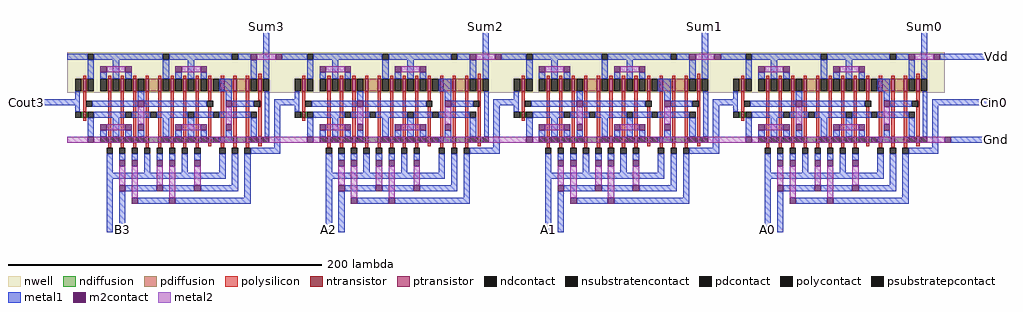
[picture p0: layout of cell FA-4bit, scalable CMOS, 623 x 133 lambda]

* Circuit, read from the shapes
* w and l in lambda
.subckt FA-4bit A0 A1 A2 A3 B0 B1 B2 B3 Cin0 Cout3 Gnd Sum0 Sum1 Sum2 Sum3 Vdd
M1 Gnd n1 Cout3 Gnd nfet w=4 l=2
M2 Gnd A3 n2 Gnd nfet w=4 l=2
M3 n2 B3 Gnd Gnd nfet w=4 l=2
M4 n1 FA_3/Cin n2 Gnd nfet w=4 l=2
M5 n3 A3 n1 Gnd nfet w=4 l=2
M6 Gnd B3 n3 Gnd nfet w=4 l=2
M7 n4 FA_3/Cin Gnd Gnd nfet w=4 l=2
M8 Gnd A3 n4 Gnd nfet w=4 l=2
M9 n4 B3 Gnd Gnd nfet w=4 l=2
M10 n5 n1 n4 Gnd nfet w=4 l=2
M11 n6 A3 n5 Gnd nfet w=4 l=2
M12 n7 B3 n6 Gnd nfet w=4 l=2
M13 Gnd FA_3/Cin n7 Gnd nfet w=4 l=2
M14 Sum3 n5 Gnd Gnd nfet w=4 l=2
M15 Gnd n8 FA_3/Cin Gnd nfet w=4 l=2
M16 Gnd A2 n9 Gnd nfet w=4 l=2
M17 n9 B2 Gnd Gnd nfet w=4 l=2
M18 n8 FA_2/Cin n9 Gnd nfet w=4 l=2
M19 n10 A2 n8 Gnd nfet w=4 l=2
M20 Gnd B2 n10 Gnd nfet w=4 l=2
M21 n11 FA_2/Cin Gnd Gnd nfet w=4 l=2
M22 Gnd A2 n11 Gnd nfet w=4 l=2
M23 n11 B2 Gnd Gnd nfet w=4 l=2
M24 n12 n8 n11 Gnd nfet w=4 l=2
M25 n13 A2 n12 Gnd nfet w=4 l=2
M26 n14 B2 n13 Gnd nfet w=4 l=2
M27 Gnd FA_2/Cin n14 Gnd nfet w=4 l=2
M28 Sum2 n12 Gnd Gnd nfet w=4 l=2
M29 Gnd n15 FA_2/Cin Gnd nfet w=4 l=2
M30 Gnd A1 n16 Gnd nfet w=4 l=2
M31 n16 B1 Gnd Gnd nfet w=4 l=2
M32 n15 FA_1/Cin n16 Gnd nfet w=4 l=2
M33 n17 A1 n15 Gnd nfet w=4 l=2
M34 Gnd B1 n17 Gnd nfet w=4 l=2
M35 n18 FA_1/Cin Gnd Gnd nfet w=4 l=2
M36 Gnd A1 n18 Gnd nfet w=4 l=2
M37 n18 B1 Gnd Gnd nfet w=4 l=2
M38 n19 n15 n18 Gnd nfet w=4 l=2
M39 n20 A1 n19 Gnd nfet w=4 l=2
M40 n21 B1 n20 Gnd nfet w=4 l=2
M41 Gnd FA_1/Cin n21 Gnd nfet w=4 l=2
M42 Sum1 n19 Gnd Gnd nfet w=4 l=2
M43 Gnd n22 FA_1/Cin Gnd nfet w=4 l=2
M44 Gnd A0 n23 Gnd nfet w=4 l=2
M45 n23 B0 Gnd Gnd nfet w=4 l=2
M46 n22 Cin0 n23 Gnd nfet w=4 l=2
M47 n24 A0 n22 Gnd nfet w=4 l=2
M48 Gnd B0 n24 Gnd nfet w=4 l=2
M49 n25 Cin0 Gnd Gnd nfet w=4 l=2
M50 Gnd A0 n25 Gnd nfet w=4 l=2
M51 n25 B0 Gnd Gnd nfet w=4 l=2
M52 n26 n22 n25 Gnd nfet w=4 l=2
M53 n27 A0 n26 Gnd nfet w=4 l=2
M54 n28 B0 n27 Gnd nfet w=4 l=2
M55 Gnd Cin0 n28 Gnd nfet w=4 l=2
M56 Sum0 n26 Gnd Gnd nfet w=4 l=2
M57 Vdd n1 Cout3 Vdd pfet w=8 l=2
M58 Vdd A3 n29 Vdd pfet w=8 l=2
M59 n29 B3 Vdd Vdd pfet w=8 l=2
M60 n1 FA_3/Cin n29 Vdd pfet w=8 l=2
M61 n30 A3 n1 Vdd pfet w=8 l=2
M62 Vdd B3 n30 Vdd pfet w=8 l=2
M63 n31 FA_3/Cin Vdd Vdd pfet w=8 l=2
M64 Vdd A3 n31 Vdd pfet w=8 l=2
M65 n31 B3 Vdd Vdd pfet w=8 l=2
M66 n5 n1 n31 Vdd pfet w=8 l=2
M67 n32 A3 n5 Vdd pfet w=8 l=2
M68 n33 B3 n32 Vdd pfet w=8 l=2
M69 Vdd FA_3/Cin n33 Vdd pfet w=8 l=2
M70 Sum3 n5 Vdd Vdd pfet w=8 l=2
M71 Vdd n8 FA_3/Cin Vdd pfet w=8 l=2
M72 Vdd A2 n34 Vdd pfet w=8 l=2
M73 n34 B2 Vdd Vdd pfet w=8 l=2
M74 n8 FA_2/Cin n34 Vdd pfet w=8 l=2
M75 n35 A2 n8 Vdd pfet w=8 l=2
M76 Vdd B2 n35 Vdd pfet w=8 l=2
M77 n36 FA_2/Cin Vdd Vdd pfet w=8 l=2
M78 Vdd A2 n36 Vdd pfet w=8 l=2
M79 n36 B2 Vdd Vdd pfet w=8 l=2
M80 n12 n8 n36 Vdd pfet w=8 l=2
M81 n37 A2 n12 Vdd pfet w=8 l=2
M82 n38 B2 n37 Vdd pfet w=8 l=2
M83 Vdd FA_2/Cin n38 Vdd pfet w=8 l=2
M84 Sum2 n12 Vdd Vdd pfet w=8 l=2
M85 Vdd n15 FA_2/Cin Vdd pfet w=8 l=2
M86 Vdd A1 n39 Vdd pfet w=8 l=2
M87 n39 B1 Vdd Vdd pfet w=8 l=2
M88 n15 FA_1/Cin n39 Vdd pfet w=8 l=2
M89 n40 A1 n15 Vdd pfet w=8 l=2
M90 Vdd B1 n40 Vdd pfet w=8 l=2
M91 n41 FA_1/Cin Vdd Vdd pfet w=8 l=2
M92 Vdd A1 n41 Vdd pfet w=8 l=2
M93 n41 B1 Vdd Vdd pfet w=8 l=2
M94 n19 n15 n41 Vdd pfet w=8 l=2
M95 n42 A1 n19 Vdd pfet w=8 l=2
M96 n43 B1 n42 Vdd pfet w=8 l=2
M97 Vdd FA_1/Cin n43 Vdd pfet w=8 l=2
M98 Sum1 n19 Vdd Vdd pfet w=8 l=2
M99 Vdd n22 FA_1/Cin Vdd pfet w=8 l=2
M100 Vdd A0 n44 Vdd pfet w=8 l=2
M101 n44 B0 Vdd Vdd pfet w=8 l=2
M102 n22 Cin0 n44 Vdd pfet w=8 l=2
M103 n45 A0 n22 Vdd pfet w=8 l=2
M104 Vdd B0 n45 Vdd pfet w=8 l=2
M105 n46 Cin0 Vdd Vdd pfet w=8 l=2
M106 Vdd A0 n46 Vdd pfet w=8 l=2
M107 n46 B0 Vdd Vdd pfet w=8 l=2
M108 n26 n22 n46 Vdd pfet w=8 l=2
M109 n47 A0 n26 Vdd pfet w=8 l=2
M110 n48 B0 n47 Vdd pfet w=8 l=2
M111 Vdd Cin0 n48 Vdd pfet w=8 l=2
M112 Sum0 n26 Vdd Vdd pfet w=8 l=2
.ends

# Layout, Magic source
magic
tech scmos
<< metal1 >>
rect -270 146 -266 155
rect -130 146 -126 155
rect 10 146 14 155
rect 150 146 154 155
rect 163 132 200 136
rect -423 103 -394 107
rect 164 103 199 107
rect 169 79 200 83
rect -370 22 -366 35
rect -362 22 -358 35
rect -230 22 -226 35
rect -222 22 -218 35
rect -90 22 -86 35
rect -82 22 -78 35
rect 50 22 54 35
rect 58 22 62 35
<< m2contact >>
rect 165 79 169 83
use FA  FA_3
transform 1 0 -349 0 1 66
box -46 -31 94 80
use FA  FA_2
transform 1 0 -209 0 1 66
box -46 -31 94 80
use FA  FA_1
transform 1 0 -69 0 1 66
box -46 -31 94 80
use FA  FA_0
transform 1 0 71 0 1 66
box -46 -31 94 80
<< labels >>
rlabel metal1 198 134 198 134 7 Vdd
rlabel metal1 198 81 198 81 7 Gnd
rlabel metal1 -421 105 -421 105 3 Cout3
rlabel metal1 -360 24 -360 24 1 B3
rlabel metal1 -368 24 -368 24 1 A3
rlabel metal1 -228 24 -228 24 1 A2
rlabel metal1 -220 24 -220 24 1 B2
rlabel metal1 -88 24 -88 24 1 A1
rlabel metal1 -80 24 -80 24 1 B1
rlabel metal1 52 24 52 24 1 A0
rlabel metal1 60 24 60 24 1 B0
rlabel metal1 152 153 152 153 5 Sum0
rlabel metal1 12 153 12 153 5 Sum1
rlabel metal1 -128 153 -128 153 5 Sum2
rlabel metal1 -268 153 -268 153 5 Sum3
rlabel metal1 197 105 197 105 7 Cin0
<< end >>

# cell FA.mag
magic
tech scmos
<< nwell >>
rect -46 45 94 71
<< polysilicon >>
rect -36 54 -34 56
rect -20 54 -18 56
rect -12 54 -10 56
rect -4 54 -2 56
rect 4 54 6 56
rect 12 54 14 56
rect 20 54 22 56
rect 28 54 30 56
rect 36 54 38 56
rect 44 54 46 56
rect 52 54 54 56
rect 60 54 62 56
rect 68 54 70 56
rect 76 54 78 57
rect -36 33 -34 46
rect -36 27 -34 29
rect -20 17 -18 46
rect -12 17 -10 46
rect -4 17 -2 46
rect 4 17 6 46
rect 12 17 14 46
rect 20 17 22 46
rect 28 17 30 46
rect 36 17 38 46
rect 44 40 46 46
rect 44 17 46 36
rect 52 17 54 46
rect 60 17 62 46
rect 68 17 70 46
rect 76 40 78 46
rect 77 36 78 40
rect 76 17 78 36
rect -20 10 -18 13
rect -12 10 -10 13
rect -4 10 -2 13
rect 4 10 6 13
rect 12 10 14 13
rect 20 10 22 13
rect 28 10 30 13
rect 36 10 38 13
rect 44 11 46 13
rect 52 10 54 13
rect 60 10 62 13
rect 68 10 70 13
rect 76 11 78 13
<< ndiffusion >>
rect -37 29 -36 33
rect -34 29 -33 33
rect -21 13 -20 17
rect -18 13 -17 17
rect -13 13 -12 17
rect -10 13 -9 17
rect -5 13 -4 17
rect -2 13 -1 17
rect 3 13 4 17
rect 6 13 12 17
rect 14 13 15 17
rect 19 13 20 17
rect 22 13 23 17
rect 27 13 28 17
rect 30 13 31 17
rect 35 13 36 17
rect 38 13 39 17
rect 43 13 44 17
rect 46 13 47 17
rect 51 13 52 17
rect 54 13 60 17
rect 62 13 68 17
rect 70 13 71 17
rect 75 13 76 17
rect 78 13 79 17
<< pdiffusion >>
rect -37 46 -36 54
rect -34 46 -33 54
rect -21 46 -20 54
rect -18 46 -17 54
rect -13 46 -12 54
rect -10 46 -9 54
rect -5 46 -4 54
rect -2 46 -1 54
rect 3 46 4 54
rect 6 46 12 54
rect 14 46 15 54
rect 19 46 20 54
rect 22 46 23 54
rect 27 46 28 54
rect 30 46 31 54
rect 35 46 36 54
rect 38 46 39 54
rect 43 46 44 54
rect 46 46 47 54
rect 51 46 52 54
rect 54 46 60 54
rect 62 46 68 54
rect 70 46 71 54
rect 75 46 76 54
rect 78 46 79 54
<< metal1 >>
rect -46 66 -33 70
rect -29 66 15 70
rect 19 66 59 70
rect 63 66 71 70
rect -33 54 -29 66
rect -25 54 -21 58
rect -17 54 -13 66
rect -9 54 -5 58
rect 15 54 19 66
rect 23 54 27 58
rect 31 54 35 66
rect 39 54 43 58
rect 71 54 75 66
rect 51 46 59 54
rect 79 54 83 80
rect 91 66 94 70
rect -41 41 -38 46
rect -46 37 -38 41
rect -1 40 3 46
rect 55 40 59 46
rect -41 33 -38 37
rect -30 36 -1 40
rect 3 36 43 40
rect 59 36 73 40
rect -29 29 -9 33
rect -5 29 7 33
rect 11 29 31 33
rect 35 29 47 33
rect 51 29 71 33
rect -33 17 -29 29
rect -25 17 -21 21
rect -17 17 -13 29
rect -9 17 -5 21
rect -1 17 3 21
rect 15 17 19 29
rect 23 17 27 21
rect 31 17 35 29
rect 39 17 43 21
rect 55 17 59 21
rect 51 13 59 17
rect 71 17 75 29
rect 80 17 83 46
rect 86 37 94 41
rect 86 10 90 37
rect -21 -6 -17 6
rect -13 2 -9 6
rect -5 2 -1 6
rect 3 -6 7 6
rect 11 2 15 6
rect 19 2 23 6
rect 27 -6 31 6
rect 35 2 39 6
rect 51 -6 55 6
rect -21 -10 55 -6
rect -21 -31 -17 -10
rect 59 -14 63 6
rect -9 -18 11 -14
rect 15 -18 35 -14
rect 39 -18 63 -14
rect 71 6 90 10
rect -13 -31 -9 -18
rect 67 -22 71 6
rect -1 -26 19 -22
rect 23 -26 71 -22
<< metal2 >>
rect 75 66 87 70
rect -21 58 -9 62
rect 27 58 39 62
rect -1 25 3 36
rect 55 25 59 36
rect -21 21 -9 25
rect 27 21 39 25
rect -46 13 -33 17
rect -29 13 94 17
rect -13 -14 -9 -2
rect -5 -22 -1 -2
rect 11 -14 15 -2
rect 19 -22 23 -2
rect 35 -14 39 -2
<< ntransistor >>
rect -36 29 -34 33
rect -20 13 -18 17
rect -12 13 -10 17
rect -4 13 -2 17
rect 4 13 6 17
rect 12 13 14 17
rect 20 13 22 17
rect 28 13 30 17
rect 36 13 38 17
rect 44 13 46 17
rect 52 13 54 17
rect 60 13 62 17
rect 68 13 70 17
rect 76 13 78 17
<< ptransistor >>
rect -36 46 -34 54
rect -20 46 -18 54
rect -12 46 -10 54
rect -4 46 -2 54
rect 4 46 6 54
rect 12 46 14 54
rect 20 46 22 54
rect 28 46 30 54
rect 36 46 38 54
rect 44 46 46 54
rect 52 46 54 54
rect 60 46 62 54
rect 68 46 70 54
rect 76 46 78 54
<< polycontact >>
rect -34 36 -30 40
rect 43 36 47 40
rect 73 36 77 40
rect -21 6 -17 10
rect -13 6 -9 10
rect -5 6 -1 10
rect 3 6 7 10
rect 11 6 15 10
rect 19 6 23 10
rect 27 6 31 10
rect 35 6 39 10
rect 51 6 55 10
rect 59 6 63 10
rect 67 6 71 10
<< ndcontact >>
rect -41 29 -37 33
rect -33 29 -29 33
rect -25 13 -21 17
rect -17 13 -13 17
rect -9 13 -5 17
rect -1 13 3 17
rect 15 13 19 17
rect 23 13 27 17
rect 31 13 35 17
rect 39 13 43 17
rect 47 13 51 17
rect 71 13 75 17
rect 79 13 83 17
<< pdcontact >>
rect -41 46 -37 54
rect -33 46 -29 54
rect -25 46 -21 54
rect -17 46 -13 54
rect -9 46 -5 54
rect -1 46 3 54
rect 15 46 19 54
rect 23 46 27 54
rect 31 46 35 54
rect 39 46 43 54
rect 47 46 51 54
rect 71 46 75 54
rect 79 46 83 54
<< m2contact >>
rect 71 66 75 70
rect -25 58 -21 62
rect -9 58 -5 62
rect 23 58 27 62
rect 39 58 43 62
rect 87 66 91 70
rect -1 36 3 40
rect 55 36 59 40
rect -33 13 -29 17
rect -25 21 -21 25
rect -9 21 -5 25
rect -1 21 3 25
rect 23 21 27 25
rect 39 21 43 25
rect 55 21 59 25
rect -13 -2 -9 2
rect -5 -2 -1 2
rect 11 -2 15 2
rect 19 -2 23 2
rect 35 -2 39 2
rect -13 -18 -9 -14
rect 11 -18 15 -14
rect 35 -18 39 -14
rect -5 -26 -1 -22
rect 19 -26 23 -22
<< psubstratepcontact >>
rect -9 29 -5 33
rect 7 29 11 33
rect 31 29 35 33
rect 47 29 51 33
rect 71 29 75 33
<< nsubstratencontact >>
rect -33 66 -29 70
rect 15 66 19 70
rect 59 66 63 70
<< labels >>
rlabel metal1 -45 39 -45 39 3 Cout
rlabel metal1 81 79 81 79 6 Sum
rlabel metal1 -19 -29 -19 -29 1 A
rlabel metal1 93 39 93 39 7 Cin
rlabel metal1 -11 -29 -11 -29 1 B
rlabel metal2 93 15 93 15 7 Gnd
rlabel metal1 92 68 92 68 7 Vdd
<< end >>
